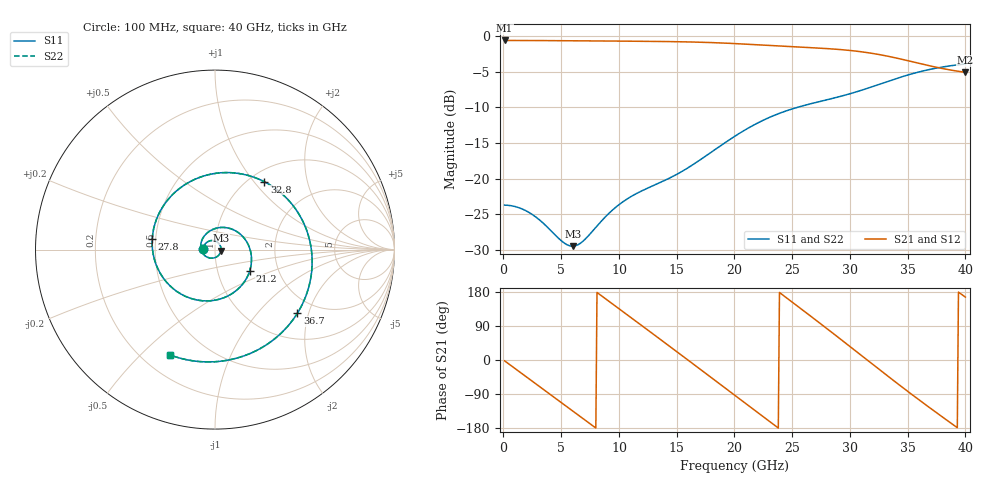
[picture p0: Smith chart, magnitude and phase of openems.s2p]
! A_s4_d200_ap600: L1→L4 through L2/L3, drill Ø0.2, antipad Ø0.6, 4 GND vias at 1 mm
! stackup: 4-layer 1.6 mm FR-4
! ports: 1, 2
! openEMS 0.37.0, staircase, fine mesh (dfine 0.0175 mm), 981215 cells
# Hz S RI R 50
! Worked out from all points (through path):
!   400 points, 100 MHz to 40 GHz, reference 50 ohm
!   highest |S21| = -0.59 dB at 100 MHz (marker M1); lowest = -5.1 dB at 40 GHz (marker M2)
!   group delay of S21, straight-line fit = 63.8 ps
!   lowest |S11| = -29.5 dB at 6 GHz (marker M3), VSWR 1.07, Z = 53.4 - j0.548 ohm
!   |S11| at or under -10 dB: start of sweep to 25.43 GHz
!   |S22| runs from -29.5 to -3.9 dB; largest |S21 - S12| = 1.6e-05
!   S11 on the Smith chart (normalised r, x): 100 MHz: 0.88, +0.00; 21.2 GHz: 1.43, -0.35; 27.8 GHz: 0.48, +0.06; 32.8 GHz: 1.17, +1.13; 36.7 GHz: 1.59, -1.70; 40 GHz: 0.31, -0.61
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1e8  -0.0651 0.0027  0.9337 -0.0366  0.9337 -0.0366  -0.0651 0.0027
1.6e9  -0.0478 0.0383  0.7564 -0.5478  0.7564 -0.5478  -0.0478 0.0383
3.3e9  -0.00488 0.0496  0.2562 -0.8968  0.2562 -0.8968  -0.00488 0.0496
6e9  0.0331 -0.00512  -0.6531 -0.6615  -0.6531 -0.6615  0.0331 -0.00512
6.8e9  0.0251 -0.0256  -0.8243 -0.4275  -0.8243 -0.4275  0.0251 -0.0256
8.7e9  -0.0215 -0.0479  -0.8935 0.2439  -0.8935 0.2439  -0.0215 -0.0479
1.07e10  -0.0697 -0.0175  -0.4576 0.8025  -0.4576 0.8025  -0.0697 -0.0175
1.34e10  -0.0681 0.0626  0.479 0.785  0.479 0.785  -0.0681 0.0626
1.5e10  -0.0303 0.1027  0.8479 0.3462  0.8479 0.3462  -0.0303 0.1027
1.65e10  0.0297 0.1232  0.8905 -0.19  0.8905 -0.19  0.0297 0.1232
1.84e10  0.1321 0.0931  0.5087 -0.7431  0.5087 -0.7431  0.1321 0.0931
2.01e10  0.1995 -0.0158  -0.072 -0.885  -0.072 -0.885  0.1995 -0.0158
2.12e10  0.1941 -0.1167  -0.4379 -0.7613  -0.4379 -0.7613  0.1941 -0.1167
2.39e10  -0.0332 -0.2857  -0.8533 0.0276  -0.8533 0.0276  -0.0332 -0.2857
2.67e10  -0.3235 -0.0953  -0.3311 0.762  -0.3311 0.762  -0.3235 -0.0953
2.78e10  -0.3498 0.0581  0.0319 0.8206  0.0319 0.8206  -0.3498 0.0581
3.05e10  -0.124 0.3861  0.7199 0.3177  0.7199 0.3177  -0.124 0.3861
3.28e10  0.2744 0.3784  0.6315 -0.3802  0.6315 -0.3802  0.2744 0.3784
3.34e10  0.3725 0.3116  0.5075 -0.5121  0.5075 -0.5121  0.3725 0.3116
3.5e10  0.5336 0.0204  0.0866 -0.6687  0.0866 -0.6687  0.5336 0.0205
3.67e10  0.4596 -0.3534  -0.3247 -0.5347  -0.3247 -0.5347  0.4596 -0.3534
4e10  -0.2529 -0.5861  -0.5417 0.1357  -0.5417 0.1357  -0.2529 -0.5861
